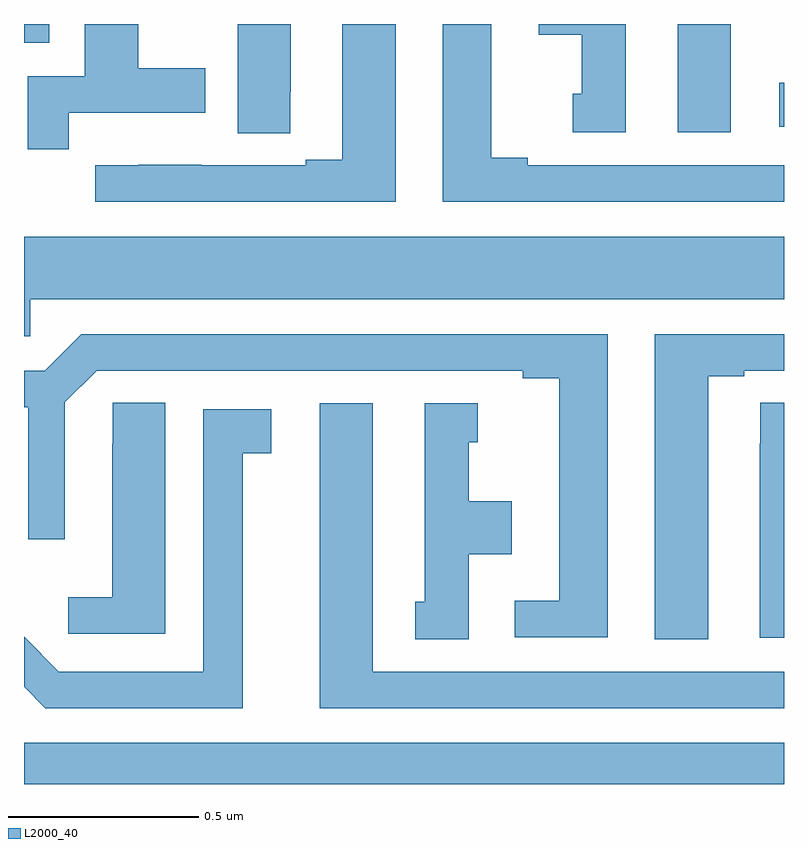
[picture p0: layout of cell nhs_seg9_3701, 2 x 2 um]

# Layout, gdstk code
import gdstk
lib = gdstk.Library(unit=1e-6, precision=1e-09)
def R(c, l, rs):  # rectangles x0, y0, x1, y1
    for r in rs: c.add(gdstk.rectangle(r[:2], r[2:], *l))
def P(c, l, *ps):  # polygons
    for p in ps: c.add(gdstk.Polygon(p, *l))
L2000_40 = (2000, 40)

nhs_seg9_3701 = lib.new_cell('nhs_seg9_3701')
R(nhs_seg9_3701, L2000_40, [(157,1172.5,159,1172.608), (158.72,1174.215,158.86,1174.5), (158.988,1174.23,159,1174.346), (157,1174.451,157.066,1174.5)])
P(nhs_seg9_3701, L2000_40, [(159,1174.128),(158.326,1174.128),(158.326,1174.148),(158.23,1174.148),(158.23,1174.5),(158.102,1174.5),(158.102,1174.032),(159,1174.032)],
  [(157.701,1174.321),(157.702,1174.321),(157.702,1174.5),(157.562,1174.5),(157.562,1174.213),(157.701,1174.213)],
  [(157.978,1174.5),(157.838,1174.5),(157.838,1174.143),(157.742,1174.143),(157.742,1174.128),(157.466,1174.128),(157.466,1174.129),(157.3,1174.129),(157.3,1174.128),(157.188,1174.128),(157.188,1174.032),(157.978,1174.032)],
  [(158.584,1174.5),(158.354,1174.5),(158.354,1174.472),(158.468,1174.472),(158.468,1174.317),(158.444,1174.317),(158.444,1174.215),(158.584,1174.215)],
  [(157.118,1174.266),(157.477,1174.266),(157.477,1174.383),(157.3,1174.383),(157.3,1174.5),(157.16,1174.5),(157.16,1174.362),(157.01,1174.362),(157.01,1174.17),(157.118,1174.17)],
  [(157.017,1173.776),(159,1173.776),(159,1173.94),(157,1173.94),(157,1173.678),(157.017,1173.678)],
  [(158.8,1173.573),(158.896,1173.573),(158.896,1173.588),(159,1173.588),(159,1173.684),(158.66,1173.684),(158.66,1172.881),(158.8,1172.881)],
  [(158.536,1173.684),(157.151,1173.684),(157.055,1173.588),(157,1173.588),(157,1173.492),(157.011,1173.492),(157.011,1173.144),(157.107,1173.144),(157.107,1173.504),(157.191,1173.588),(158.312,1173.588),(158.312,1173.568),(158.408,1173.568),(158.408,1172.982),(158.292,1172.982),(158.292,1172.886),(158.536,1172.886)],
  [(157.372,1173.503),(157.233,1173.503),(157.233,1173.395),(157.232,1173.395),(157.232,1172.992),(157.116,1172.992),(157.116,1172.895),(157.372,1172.895)],
  [(159,1173.503),(158.937,1173.503),(158.937,1173.395),(158.936,1173.395),(158.936,1172.885),(159,1172.885)],
  [(158.17,1173.104),(158.284,1173.104),(158.284,1173.244),(158.17,1173.244),(158.17,1173.399),(158.194,1173.399),(158.194,1173.502),(158.054,1173.502),(158.054,1172.979),(158.03,1172.979),(158.03,1172.881),(158.17,1172.881)],
  [(159,1172.796),(157.918,1172.796),(157.918,1173.502),(157.778,1173.502),(157.778,1172.7),(159,1172.7)],
  [(157.576,1173.37),(157.651,1173.37),(157.651,1173.486),(157.472,1173.486),(157.472,1172.796),(157.092,1172.796),(157,1172.888),(157,1172.756),(157.056,1172.7),(157.576,1172.7)])

lib.write_gds('nhs_seg9_3701.gds')
